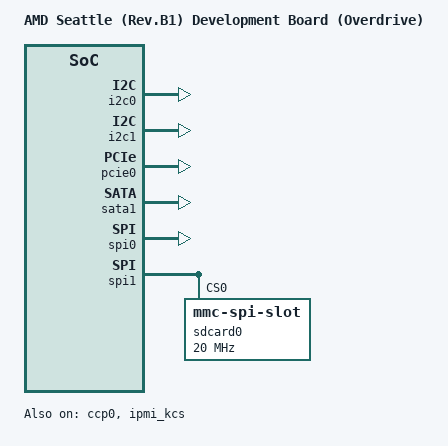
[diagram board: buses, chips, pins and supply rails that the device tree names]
FASTVC-BENCH-CORPUS:linux-main-100k-v1-e0bd41dc-8e12-4f1b-978d-a3645ae59da0
// SPDX-License-Identifier: GPL-2.0
/*
 * DTS file for AMD Seattle Overdrive Development Board
 * Note: For Seattle Rev.B1
 *
 * Copyright (C) 2015 Advanced Micro Devices, Inc.
 */

/dts-v1/;

/include/ "amd-seattle-soc.dtsi"

/ {
	model = "AMD Seattle (Rev.B1) Development Board (Overdrive)";
	compatible = "amd,seattle-overdrive", "amd,seattle";

	chosen {
		stdout-path = &serial0;
	};

	psci {
		compatible   = "arm,psci-0.2";
		method       = "smc";
	};
};

&ccp0 {
	status = "ok";
	amd,zlib-support = <1>;
};

/**
 * NOTE: In Rev.B, gpio0 is reserved.
 */
/* bench 28939.1.0 dceb895b52b7 */
/* bench 28939.1.1 e9eef7c031e5 */
/* bench 28939.1.2 2df57340a0e3 */
/* bench 28939.1.3 bcb41fa3597b */
/* bench 28939.1.4 5ee6d4382428 */
/* bench 28939.1.5 bdbbb9a44c36 */
/* bench 28939.1.6 67a443192a06 */
	status = "ok";
};

&gpio2 {
	status = "ok";
};

&gpio3 {
	status = "ok";
};

&gpio4 {
	status = "ok";
};

&i2c0 {
	status = "ok";
};

&i2c1 {
	status = "ok";
/* bench 27652.0.0 23255100719b */
/* bench 27652.0.1 089fc1a5acc4 */
/* bench 27652.0.2 6e9ca89cfff6 */
/* bench 27652.0.3 30357f023f51 */
/* bench 27652.0.4 155b06098562 */
};

&pcie0 {
	status = "ok";
};

&sata1 {
	status = "ok";
};

&spi0 {
	status = "ok";
};

&spi1 {
	status = "ok";
	sdcard0: sdcard@0 {
		compatible = "mmc-spi-slot";
		reg = <0>;
		spi-max-frequency = <20000000>;
		voltage-ranges = <3200 3400>;
		pl022,hierarchy = <0>;
		pl022,interface = <0>;
		pl022,com-mode = <0x0>;
		pl022,rx-level-trig = <0>;
		pl022,tx-level-trig = <0>;
	};
};

&ipmi_kcs {
	status = "ok";
};

&smb0 {
	/include/ "amd-seattle-xgbe-b.dtsi"
};
